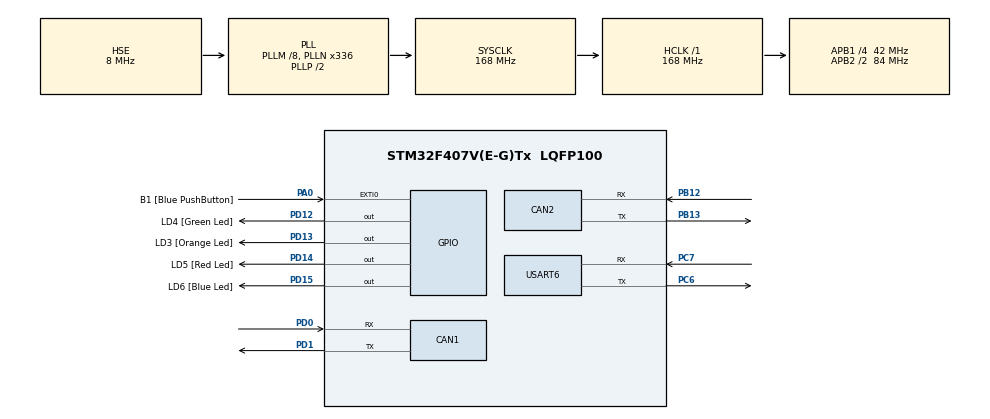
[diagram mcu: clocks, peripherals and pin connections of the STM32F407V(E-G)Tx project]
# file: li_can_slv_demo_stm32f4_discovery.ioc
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CAN1.CalculateTimeQuantum=380.95238095238096
CAN2.CalculateTimeQuantum=380.95238095238096
Mcu.Family=STM32F4
Mcu.Name=STM32F407V(E-G)Tx
Mcu.Package=LQFP100
NVIC.CAN1_RX0_IRQn=true\:0\:0\:false\:false\:true\:true\:true
NVIC.CAN1_RX1_IRQn=true\:0\:0\:false\:false\:true\:true\:true
NVIC.CAN1_TX_IRQn=true\:0\:0\:false\:false\:true\:true\:true
NVIC.PriorityGroup=NVIC_PRIORITYGROUP_0
PA0-WKUP.GPIO_Label=B1 [Blue PushButton]
PA0-WKUP.GPIO_ModeDefaultEXTI=GPIO_MODE_EVT_RISING
PA0-WKUP.GPIO_PuPd=GPIO_NOPULL
PA0-WKUP.Signal=GPXTI0
PA13.GPIO_Label=SWDIO
PA13.Mode=Serial_Wire
PA13.Signal=SYS_JTMS-SWDIO
PA14.Mode=Serial_Wire
PA14.Signal=SYS_JTCK-SWCLK
PB12.Mode=Slave
PB12.Signal=CAN2_RX
PB13.Mode=Slave
PB13.Signal=CAN2_TX
PC14-OSC32_IN.GPIO_Label=PC14-OSC32_IN
PC14-OSC32_IN.Mode=LSE-External-Oscillator
PC14-OSC32_IN.Signal=RCC_OSC32_IN
PC15-OSC32_OUT.GPIO_Label=PC15-OSC32_OUT
PC15-OSC32_OUT.Mode=LSE-External-Oscillator
PC15-OSC32_OUT.Signal=RCC_OSC32_OUT
PC6.Mode=Asynchronous
PC6.Signal=USART6_TX
PC7.Mode=Asynchronous
PC7.Signal=USART6_RX
PD0.Mode=Master
PD0.Signal=CAN1_RX
PD1.Mode=Master
PD1.Signal=CAN1_TX
PD12.GPIO_Label=LD4 [Green Led]
PD12.GPIO_PuPd=GPIO_NOPULL
PD12.GPIO_Speed=GPIO_SPEED_FREQ_LOW
PD12.Signal=GPIO_Output
PD13.GPIO_Label=LD3 [Orange Led]
PD13.GPIO_PuPd=GPIO_NOPULL
PD13.GPIO_Speed=GPIO_SPEED_FREQ_LOW
PD13.Signal=GPIO_Output
PD14.GPIO_Label=LD5 [Red Led]
PD14.GPIO_PuPd=GPIO_NOPULL
PD14.GPIO_Speed=GPIO_SPEED_FREQ_LOW
PD14.Signal=GPIO_Output
PD15.GPIO_Label=LD6 [Blue Led]
PD15.GPIO_PuPd=GPIO_NOPULL
PD15.GPIO_Speed=GPIO_SPEED_FREQ_LOW
PD15.Signal=GPIO_Output
PH0-OSC_IN.GPIO_Label=PH0-OSC_IN
PH0-OSC_IN.Mode=HSE-External-Oscillator
PH0-OSC_IN.Signal=RCC_OSC_IN
PH1-OSC_OUT.GPIO_Label=PH1-OSC_OUT
PH1-OSC_OUT.Mode=HSE-External-Oscillator
PH1-OSC_OUT.Signal=RCC_OSC_OUT
ProjectManager.HeapSize=0x200
ProjectManager.StackSize=0x400
ProjectManager.TargetToolchain=STM32CubeIDE
RCC.48MHZClocksFreq_Value=48000000
RCC.AHBFreq_Value=168000000
RCC.APB1CLKDivider=RCC_HCLK_DIV4
RCC.APB1Freq_Value=42000000
RCC.APB1TimFreq_Value=84000000
RCC.APB2CLKDivider=RCC_HCLK_DIV2
RCC.APB2Freq_Value=84000000
RCC.APB2TimFreq_Value=168000000
RCC.CortexFreq_Value=168000000
RCC.HCLKFreq_Value=168000000
RCC.HSE_VALUE=8000000
RCC.HSI_VALUE=16000000
RCC.PLLM=8
RCC.PLLN=336
RCC.PLLQ=7
RCC.PLLSourceVirtual=RCC_PLLSOURCE_HSE
RCC.SYSCLKFreq_VALUE=168000000
RCC.SYSCLKSource=RCC_SYSCLKSOURCE_PLLCLK
RCC.VCOOutputFreq_Value=336000000
USART6.VirtualMode=VM_ASYNC
board=STM32F4DISCOVERY

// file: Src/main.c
/* USER CODE BEGIN Header */
/**
  ******************************************************************************
  * @file           : main.c
  * @brief          : Main program body
  ******************************************************************************
  * @attention
  *
  * <h2><center>&copy; Copyright (c) 2019 STMicroelectronics.
  * All rights reserved.</center></h2>
  *
  * This software component is licensed by ST under Ultimate Liberty license
  * SLA0044, the "License"; You may not use this file except in compliance with
  * the License. You may obtain a copy of the License at:
  *                             www.st.com/SLA0044
  *
  ******************************************************************************
  */
/* USER CODE END Header */

#include "main.h"

/* USER CODE BEGIN Includes */
#include "io_app_demo_hw.h"
/* USER CODE END Includes */

CAN_HandleTypeDef hcan1;
CAN_HandleTypeDef hcan2;

UART_HandleTypeDef huart6;

/* USER CODE BEGIN PV */
uint32_t McCpuGetClockAPB1(void)
{
	uint32_t pclk;
	pclk = HAL_RCC_GetPCLK1Freq();
	return pclk;
}

/* USER CODE END PV */

void SystemClock_Config(void);
static void MX_GPIO_Init(void);
static void MX_CAN1_Init(void);
static void MX_CAN2_Init(void);
static void MX_USART6_UART_Init(void);

/* USER CODE BEGIN 0 */
int __io_putchar(int ch)
{
	char nl = '\n';
	char cr = '\r';

	if (ch == nl)
	{
		HAL_UART_Transmit(&huart6, (uint8_t *) &nl, 1, 0xFFFF);
		HAL_UART_Transmit(&huart6, (uint8_t *) &cr, 1, 0xFFFF);
	}
	else
	{
		HAL_UART_Transmit(&huart6, (uint8_t *) &ch, 1, 0xFFFF);
	}
	return ch;
}

void HAL_SYSTICK_Callback(void)
{
	static uint32_t timer = 0;

	timer++;
	if (timer == 5)
	{
		app_process_5msec();
		timer = 0;
	}
}

/* USER CODE END 0 */

int main(void)
{

  /* MCU Configuration--------------------------------------------------------*/

  /* Reset of all peripherals, Initializes the Flash interface and the Systick. */
  HAL_Init();

  /* Configure the system clock */
  SystemClock_Config();

  /* Initialize all configured peripherals */
  MX_GPIO_Init();
  MX_CAN1_Init();
  MX_CAN2_Init();
  MX_USART6_UART_Init();
  /* USER CODE BEGIN 2 */
  app_main();

  /* USER CODE END 2 */

  /* Infinite loop */
  while (1)
  {

  }
}

void SystemClock_Config(void)
{
  RCC_OscInitTypeDef RCC_OscInitStruct = {0};
  RCC_ClkInitTypeDef RCC_ClkInitStruct = {0};

  /** Configure the main internal regulator output voltage
  */
  __HAL_RCC_PWR_CLK_ENABLE();
  __HAL_PWR_VOLTAGESCALING_CONFIG(PWR_REGULATOR_VOLTAGE_SCALE1);
  /** Initializes the CPU, AHB and APB busses clocks
  */
  RCC_OscInitStruct.OscillatorType = RCC_OSCILLATORTYPE_HSE;
  RCC_OscInitStruct.HSEState = RCC_HSE_ON;
  RCC_OscInitStruct.PLL.PLLState = RCC_PLL_ON;
  RCC_OscInitStruct.PLL.PLLSource = RCC_PLLSOURCE_HSE;
  RCC_OscInitStruct.PLL.PLLM = 8;
  RCC_OscInitStruct.PLL.PLLN = 336;
  RCC_OscInitStruct.PLL.PLLP = RCC_PLLP_DIV2;
  RCC_OscInitStruct.PLL.PLLQ = 7;
  if (HAL_RCC_OscConfig(&RCC_OscInitStruct) != HAL_OK)
  {
    Error_Handler();
  }
  /** Initializes the CPU, AHB and APB busses clocks
  */
  RCC_ClkInitStruct.ClockType = RCC_CLOCKTYPE_HCLK|RCC_CLOCKTYPE_SYSCLK
                              |RCC_CLOCKTYPE_PCLK1|RCC_CLOCKTYPE_PCLK2;
  RCC_ClkInitStruct.SYSCLKSource = RCC_SYSCLKSOURCE_PLLCLK;
  RCC_ClkInitStruct.AHBCLKDivider = RCC_SYSCLK_DIV1;
  RCC_ClkInitStruct.APB1CLKDivider = RCC_HCLK_DIV4;
  RCC_ClkInitStruct.APB2CLKDivider = RCC_HCLK_DIV2;

  if (HAL_RCC_ClockConfig(&RCC_ClkInitStruct, FLASH_LATENCY_5) != HAL_OK)
  {
    Error_Handler();
  }
}

static void MX_CAN1_Init(void)
{

  hcan1.Instance = CAN1;
  hcan1.Init.Prescaler = 16;
  hcan1.Init.Mode = CAN_MODE_NORMAL;
  hcan1.Init.SyncJumpWidth = CAN_SJW_1TQ;
  hcan1.Init.TimeSeg1 = CAN_BS1_1TQ;
  hcan1.Init.TimeSeg2 = CAN_BS2_1TQ;
  hcan1.Init.TimeTriggeredMode = DISABLE;
  hcan1.Init.AutoBusOff = DISABLE;
  hcan1.Init.AutoWakeUp = DISABLE;
  hcan1.Init.AutoRetransmission = DISABLE;
  hcan1.Init.ReceiveFifoLocked = DISABLE;
  hcan1.Init.TransmitFifoPriority = DISABLE;
  if (HAL_CAN_Init(&hcan1) != HAL_OK)
  {
    Error_Handler();
  }

}

static void MX_CAN2_Init(void)
{

  hcan2.Instance = CAN2;
  hcan2.Init.Prescaler = 16;
  hcan2.Init.Mode = CAN_MODE_NORMAL;
  hcan2.Init.SyncJumpWidth = CAN_SJW_1TQ;
  hcan2.Init.TimeSeg1 = CAN_BS1_1TQ;
  hcan2.Init.TimeSeg2 = CAN_BS2_1TQ;
  hcan2.Init.TimeTriggeredMode = DISABLE;
  hcan2.Init.AutoBusOff = DISABLE;
  hcan2.Init.AutoWakeUp = DISABLE;
  hcan2.Init.AutoRetransmission = DISABLE;
  hcan2.Init.ReceiveFifoLocked = DISABLE;
  hcan2.Init.TransmitFifoPriority = DISABLE;
  if (HAL_CAN_Init(&hcan2) != HAL_OK)
  {
    Error_Handler();
  }

}

static void MX_USART6_UART_Init(void)
{

  huart6.Instance = USART6;
  huart6.Init.BaudRate = 115200;
  huart6.Init.WordLength = UART_WORDLENGTH_8B;
  huart6.Init.StopBits = UART_STOPBITS_1;
  huart6.Init.Parity = UART_PARITY_NONE;
  huart6.Init.Mode = UART_MODE_TX_RX;
  huart6.Init.HwFlowCtl = UART_HWCONTROL_NONE;
  huart6.Init.OverSampling = UART_OVERSAMPLING_16;
  if (HAL_UART_Init(&huart6) != HAL_OK)
  {
    Error_Handler();
  }

}

static void MX_GPIO_Init(void)
{
  GPIO_InitTypeDef GPIO_InitStruct = {0};

  /* GPIO Ports Clock Enable */
  __HAL_RCC_GPIOC_CLK_ENABLE();
  __HAL_RCC_GPIOH_CLK_ENABLE();
  __HAL_RCC_GPIOA_CLK_ENABLE();
  __HAL_RCC_GPIOB_CLK_ENABLE();
  __HAL_RCC_GPIOD_CLK_ENABLE();

  /*Configure GPIO pin Output Level */
  HAL_GPIO_WritePin(GPIOD, LD4_Pin|LD3_Pin|LD5_Pin|LD6_Pin, GPIO_PIN_RESET);

  /*Configure GPIO pin : B1_Pin */
  GPIO_InitStruct.Pin = B1_Pin;
  GPIO_InitStruct.Mode = GPIO_MODE_EVT_RISING;
  GPIO_InitStruct.Pull = GPIO_NOPULL;
  HAL_GPIO_Init(B1_GPIO_Port, &GPIO_InitStruct);

  /*Configure GPIO pins : LD4_Pin LD3_Pin LD5_Pin LD6_Pin */
  GPIO_InitStruct.Pin = LD4_Pin|LD3_Pin|LD5_Pin|LD6_Pin;
  GPIO_InitStruct.Mode = GPIO_MODE_OUTPUT_PP;
  GPIO_InitStruct.Pull = GPIO_NOPULL;
  GPIO_InitStruct.Speed = GPIO_SPEED_FREQ_LOW;
  HAL_GPIO_Init(GPIOD, &GPIO_InitStruct);

}

void Error_Handler(void)
{
}

/************************ (C) COPYRIGHT STMicroelectronics *****END OF FILE****/
